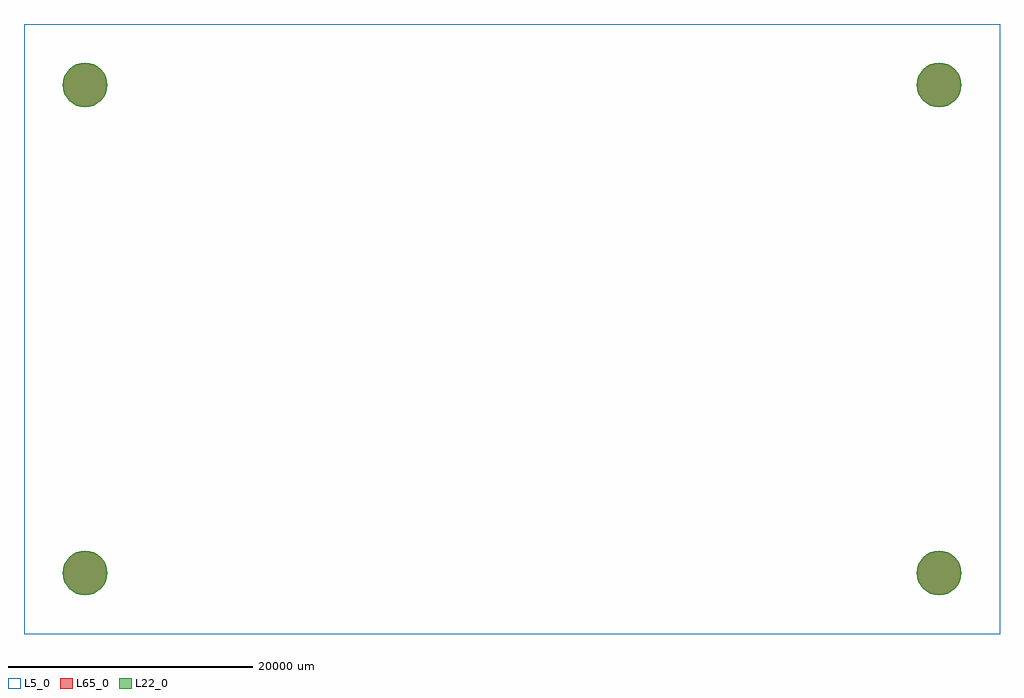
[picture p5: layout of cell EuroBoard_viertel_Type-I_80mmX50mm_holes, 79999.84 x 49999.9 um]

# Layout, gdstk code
import gdstk
lib = gdstk.Library(unit=1e-6, precision=1e-09)
def R(c, l, rs):  # rectangles x0, y0, x1, y1
    for r in rs: c.add(gdstk.rectangle(r[:2], r[2:], *l))
def P(c, l, *ps):  # polygons
    for p in ps: c.add(gdstk.Polygon(p, *l))
L5_0 = (5, 0)
L22_0 = (22, 0)
L65_0 = (65, 0)

euroboard_viertel_type_i = lib.new_cell('EuroBoard_viertel_Type-I_80mmX50mm_holes')
R(euroboard_viertel_type_i, L5_0, [(0,0,79999.84,49999.9)])
P(euroboard_viertel_type_i, L22_0, [(76826.18,5001.26),(76791.112,5357.312),(76687.256,5699.68),(76518.602,6015.209),(76291.632,6291.772),(76015.069,6518.742),(75699.54,6687.396),(75357.172,6791.252),(75001.12,6826.32),(74645.068,6791.252),(74302.7,6687.396),(73987.171,6518.742),(73710.608,6291.772),(73483.638,6015.209),(73314.984,5699.68),(73211.128,5357.312),(73176.06,5001.26),(73211.128,4645.208),(73314.984,4302.84),(73483.638,3987.311),(73710.608,3710.748),(73987.171,3483.778),(74302.7,3315.124),(74645.068,3211.268),(75001.12,3176.2),(75357.172,3211.268),(75699.54,3315.124),(76015.069,3483.778),(76291.632,3710.748),(76518.602,3987.311),(76687.256,4302.84),(76791.112,4645.208)],
  [(76826.18,45001.18),(76791.112,45357.232),(76687.256,45699.6),(76518.602,46015.129),(76291.632,46291.692),(76015.069,46518.662),(75699.54,46687.316),(75357.172,46791.172),(75001.12,46826.24),(74645.068,46791.172),(74302.7,46687.316),(73987.171,46518.662),(73710.608,46291.692),(73483.638,46015.129),(73314.984,45699.6),(73211.128,45357.232),(73176.06,45001.18),(73211.128,44645.128),(73314.984,44302.76),(73483.638,43987.231),(73710.608,43710.668),(73987.171,43483.698),(74302.7,43315.044),(74645.068,43211.188),(75001.12,43176.12),(75357.172,43211.188),(75699.54,43315.044),(76015.069,43483.698),(76291.632,43710.668),(76518.602,43987.231),(76687.256,44302.76),(76791.112,44645.128)],
  [(6826.32,45001.18),(6791.252,45357.232),(6687.396,45699.6),(6518.742,46015.129),(6291.772,46291.692),(6015.209,46518.662),(5699.68,46687.316),(5357.312,46791.172),(5001.26,46826.24),(4645.208,46791.172),(4302.84,46687.316),(3987.311,46518.662),(3710.748,46291.692),(3483.778,46015.129),(3315.124,45699.6),(3211.268,45357.232),(3176.2,45001.18),(3211.268,44645.128),(3315.124,44302.76),(3483.778,43987.231),(3710.748,43710.668),(3987.311,43483.698),(4302.84,43315.044),(4645.208,43211.188),(5001.26,43176.12),(5357.312,43211.188),(5699.68,43315.044),(6015.209,43483.698),(6291.772,43710.668),(6518.742,43987.231),(6687.396,44302.76),(6791.252,44645.128)],
  [(6826.32,5001.26),(6791.252,5357.312),(6687.396,5699.68),(6518.742,6015.209),(6291.772,6291.772),(6015.209,6518.742),(5699.68,6687.396),(5357.312,6791.252),(5001.26,6826.32),(4645.208,6791.252),(4302.84,6687.396),(3987.311,6518.742),(3710.748,6291.772),(3483.778,6015.209),(3315.124,5699.68),(3211.268,5357.312),(3176.2,5001.26),(3211.268,4645.208),(3315.124,4302.84),(3483.778,3987.311),(3710.748,3710.748),(3987.311,3483.778),(4302.84,3315.124),(4645.208,3211.268),(5001.26,3176.2),(5357.312,3211.268),(5699.68,3315.124),(6015.209,3483.778),(6291.772,3710.748),(6518.742,3987.311),(6687.396,4302.84),(6791.252,4645.208)])
P(euroboard_viertel_type_i, L65_0, [(76826.18,5001.26),(76791.112,5357.312),(76687.256,5699.68),(76518.602,6015.209),(76291.632,6291.772),(76015.069,6518.742),(75699.54,6687.396),(75357.172,6791.252),(75001.12,6826.32),(74645.068,6791.252),(74302.7,6687.396),(73987.171,6518.742),(73710.608,6291.772),(73483.638,6015.209),(73314.984,5699.68),(73211.128,5357.312),(73176.06,5001.26),(73211.128,4645.208),(73314.984,4302.84),(73483.638,3987.311),(73710.608,3710.748),(73987.171,3483.778),(74302.7,3315.124),(74645.068,3211.268),(75001.12,3176.2),(75357.172,3211.268),(75699.54,3315.124),(76015.069,3483.778),(76291.632,3710.748),(76518.602,3987.311),(76687.256,4302.84),(76791.112,4645.208)],
  [(76826.18,45001.18),(76791.112,45357.232),(76687.256,45699.6),(76518.602,46015.129),(76291.632,46291.692),(76015.069,46518.662),(75699.54,46687.316),(75357.172,46791.172),(75001.12,46826.24),(74645.068,46791.172),(74302.7,46687.316),(73987.171,46518.662),(73710.608,46291.692),(73483.638,46015.129),(73314.984,45699.6),(73211.128,45357.232),(73176.06,45001.18),(73211.128,44645.128),(73314.984,44302.76),(73483.638,43987.231),(73710.608,43710.668),(73987.171,43483.698),(74302.7,43315.044),(74645.068,43211.188),(75001.12,43176.12),(75357.172,43211.188),(75699.54,43315.044),(76015.069,43483.698),(76291.632,43710.668),(76518.602,43987.231),(76687.256,44302.76),(76791.112,44645.128)],
  [(6826.32,45001.18),(6791.252,45357.232),(6687.396,45699.6),(6518.742,46015.129),(6291.772,46291.692),(6015.209,46518.662),(5699.68,46687.316),(5357.312,46791.172),(5001.26,46826.24),(4645.208,46791.172),(4302.84,46687.316),(3987.311,46518.662),(3710.748,46291.692),(3483.778,46015.129),(3315.124,45699.6),(3211.268,45357.232),(3176.2,45001.18),(3211.268,44645.128),(3315.124,44302.76),(3483.778,43987.231),(3710.748,43710.668),(3987.311,43483.698),(4302.84,43315.044),(4645.208,43211.188),(5001.26,43176.12),(5357.312,43211.188),(5699.68,43315.044),(6015.209,43483.698),(6291.772,43710.668),(6518.742,43987.231),(6687.396,44302.76),(6791.252,44645.128)],
  [(6826.32,5001.26),(6791.252,5357.312),(6687.396,5699.68),(6518.742,6015.209),(6291.772,6291.772),(6015.209,6518.742),(5699.68,6687.396),(5357.312,6791.252),(5001.26,6826.32),(4645.208,6791.252),(4302.84,6687.396),(3987.311,6518.742),(3710.748,6291.772),(3483.778,6015.209),(3315.124,5699.68),(3211.268,5357.312),(3176.2,5001.26),(3211.268,4645.208),(3315.124,4302.84),(3483.778,3987.311),(3710.748,3710.748),(3987.311,3483.778),(4302.84,3315.124),(4645.208,3211.268),(5001.26,3176.2),(5357.312,3211.268),(5699.68,3315.124),(6015.209,3483.778),(6291.772,3710.748),(6518.742,3987.311),(6687.396,4302.84),(6791.252,4645.208)])
euroboard_viertel_type_i.add(gdstk.Label('type', (41998.9,-5001.26), layer=9, texttype=0))
euroboard_viertel_type_i.add(gdstk.Label('devicename', (41000.68,54000.4), layer=9, texttype=0))

lib.write_gds('EuroBoard_viertel_Type-I_80mmX50mm_holes.gds')
